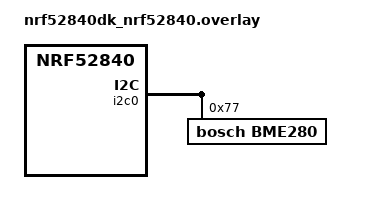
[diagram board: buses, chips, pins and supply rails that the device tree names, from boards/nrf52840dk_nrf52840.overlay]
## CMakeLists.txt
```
# SPDX-License-Identifier: Apache-2.0

cmake_minimum_required(VERSION 3.13.1)

list(INSERT OVERLAY_CONFIG 0 common/overlay-ot-defaults.conf)

set(ENV{BOARD} nrf52840dk_nrf52840)
set(ENV{BOARD_DIR} $ENV{ZEPHYR_BASE}/boards/arm/nrf52840dk_nrf52840)

find_package(Zephyr REQUIRED HINTS $ENV{ZEPHYR_BASE})

project(emesh_sensor
        LANGUAGES C CXX ASM)

enable_language(CXX)
set(CMAKE_C_STANDARD 11)
set(CMAKE_CXX_STANDARD 20)

target_sources(app PRIVATE
        src/main.cpp
        src/coap_client_utils.c
)

target_include_directories(app PUBLIC src)

#add_subdirectory(third_party/zpp)
#add_subdirectory(third_party/etl)
#target_include_directories(etl INTERFACE third_party/etl_profile)

#zephyr_library_include_directories(${ZEPHYR_BASE}/samples/bluetooth)
#add_subdirectory(src/sensors)
#add_subdirectory(src/bluetooth)
#add_subdirectory(src/utils)

#target_link_libraries(app PRIVATE
#        sensor_lib
#        utils_lib
#        bt_lib
#        etl
#        )
```

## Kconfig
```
#
# Copyright (c) 2020 Nordic Semiconductor ASA
#
# SPDX-License-Identifier: LicenseRef-BSD-5-Clause-Nordic
#

menu "Zephyr Kernel"
source "Kconfig.zephyr"
endmenu

module = COAP_CLIENT
module-str = CoAP client
source "${ZEPHYR_BASE}/subsys/logging/Kconfig.template.log_config"

module = COAP_CLIENT_UTILS
module-str = CoAP client utilities
source "${ZEPHYR_BASE}/subsys/logging/Kconfig.template.log_config"

module = BLE_UTILS
module-str = Bluetooth connection utilities
source "${ZEPHYR_BASE}/subsys/logging/Kconfig.template.log_config"
```

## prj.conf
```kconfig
# Increased stack due to settings API usage
CONFIG_SYSTEM_WORKQUEUE_STACK_SIZE=2048
# Config logger
CONFIG_LOG=y
CONFIG_USE_SEGGER_RTT=y
CONFIG_LOG_BACKEND_RTT=y
CONFIG_ASSERT=y

# nRF board library
CONFIG_DK_LIBRARY=y

# Enable CoAP utils and CoAP protocol
CONFIG_COAP_UTILS=y

# Configure sample logging setting
CONFIG_COAP_CLIENT_LOG_LEVEL_DBG=y
CONFIG_COAP_CLIENT_UTILS_LOG_LEVEL_DBG=y
CONFIG_COAP_UTILS_LOG_LEVEL_DBG=y

# Network shell
CONFIG_NET_SHELL=y
CONFIG_SHELL_ARGC_MAX=26
CONFIG_SHELL_CMD_BUFF_SIZE=416

# Network sockets
CONFIG_NET_SOCKETS=y
CONFIG_NET_SOCKETS_POSIX_NAMES=y
CONFIG_NET_SOCKETS_POLL_MAX=4

# This sample makes use of system workqueue and requires increased stack size.
CONFIG_SYSTEM_WORKQUEUE_STACK_SIZE=2048

# OpenThread manual start
CONFIG_OPENTHREAD_MANUAL_START=y
CONFIG_OPENTHREAD_MTD_SED=y
CONFIG_OPENTHREAD_JOINER=y

CONFIG_CPLUSPLUS=y
CONFIG_LIB_CPLUSPLUS=y
CONFIG_STD_CPP17=y
CONFIG_NEWLIB_LIBC=y
CONFIG_NEWLIB_LIBC_NANO=y
CONFIG_SPEED_OPTIMIZATIONS=y
CONFIG_MINIMAL_LIBC_MALLOC_ARENA_SIZE=128

CONFIG_SENSOR=y
CONFIG_BME280=y
CONFIG_GPIO=y

CONFIG_SETTINGS=y
CONFIG_FLASH=y
CONFIG_FLASH_PAGE_LAYOUT=y
CONFIG_FLASH_MAP=y
CONFIG_NVS=y
CONFIG_SETTINGS_NVS=y

# Below is setup to let DIS information be read from settings
CONFIG_SETTINGS_RUNTIME=y

CONFIG_SYS_POWER_MANAGEMENT=y
CONFIG_TICKLESS_IDLE=y
```

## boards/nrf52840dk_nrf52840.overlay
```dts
/*
 * Copyright (c) 2020, Nordic Semiconductor ASA
 *
 * SPDX-License-Identifier: Apache-2.0
 */

/ {
	/*
	* In some default configurations within the nRF Connect SDK,
	* e.g. on nRF52840, the chosen zephyr,entropy node is &cryptocell.
	* This devicetree overlay ensures that default is overridden wherever it
	* is set, as this application uses the RNG node for entropy exclusively.
	*/
	chosen {
		zephyr,entropy = &rng;
	};
};

&i2c0 {
	bme280@77 {
		compatible = "bosch,bme280";
		reg = <0x77>;
		label = "BME280";
	};
};
```

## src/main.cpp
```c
/*
 * Copyright (c) 2020 Nordic Semiconductor ASA
 *
 * SPDX-License-Identifier: LicenseRef-BSD-5-Clause-Nordic
 */

#include <zephyr.h>
#include <dk_buttons_and_leds.h>
#include <logging/log.h>
#include <ram_pwrdn.h>
#include <device.h>

#include "coap_client_utils.h"

#if CONFIG_BT_NUS
#include "ble_utils.h"
#endif

LOG_MODULE_REGISTER(coap_client, CONFIG_COAP_CLIENT_LOG_LEVEL);

#define CONSOLE_LABEL DT_LABEL(DT_CHOSEN(zephyr_console))

#define OT_CONNECTION_LED DK_LED1
#define BLE_CONNECTION_LED DK_LED2
#define MTD_SED_LED DK_LED3

#if CONFIG_BT_NUS

#define COMMAND_REQUEST_UNICAST 'u'
#define COMMAND_REQUEST_MULTICAST 'm'
#define COMMAND_REQUEST_PROVISIONING 'p'

static void on_nus_received(struct bt_conn *conn, const uint8_t *const data,
			    uint16_t len)
{
	LOG_INF("Received data: %s", log_strdup(data));

	if (len != 1) {
		LOG_WRN("Received invalid data length from NUS");
		return;
	}

	switch (*data) {
	case COMMAND_REQUEST_UNICAST:
		coap_client_toggle_one_light();
		break;

	case COMMAND_REQUEST_MULTICAST:
		coap_client_toggle_mesh_lights();
		break;

	case COMMAND_REQUEST_PROVISIONING:
		coap_client_send_provisioning_request();
		break;

	default:
		LOG_WRN("Received invalid data from NUS");
	}
}

static void on_ble_connect(struct k_work *item)
{
	ARG_UNUSED(item);

	dk_set_led_on(BLE_CONNECTION_LED);
}

static void on_ble_disconnect(struct k_work *item)
{
	ARG_UNUSED(item);

	dk_set_led_off(BLE_CONNECTION_LED);
}

#endif /* CONFIG_BT_NUS */

static void on_ot_connect(struct k_work *item)
{
  ARG_UNUSED(item);

  LOG_INF("connected\n");
  dk_set_led_on(OT_CONNECTION_LED);
}

static void on_ot_disconnect(struct k_work *item)
{
  ARG_UNUSED(item);

  LOG_INF("disconnected\n");
  dk_set_led_off(OT_CONNECTION_LED);
}

static void on_mtd_mode_toggle(uint32_t med)
{
  LOG_INF("toggled %d\n", med);
#if IS_ENABLED(CONFIG_DEVICE_POWER_MANAGEMENT)
  const struct device *cons = device_get_binding(CONSOLE_LABEL);

	if (med) {
		device_set_power_state(cons, DEVICE_PM_ACTIVE_STATE,
				       NULL, NULL);
	} else {
		device_set_power_state(cons, DEVICE_PM_OFF_STATE,
				       NULL, NULL);
	}
#endif
  dk_set_led(MTD_SED_LED, med);
}

static void on_button_changed(uint32_t button_state, uint32_t has_changed)
{
  uint32_t buttons = button_state & has_changed;

  if (buttons & DK_BTN1_MSK) {
    coap_client_toggle_one_light();
  }

  if (buttons & DK_BTN2_MSK) {
    coap_client_toggle_mesh_lights();
  }

  if (buttons & DK_BTN3_MSK) {
    coap_client_toggle_minimal_sleepy_end_device();
  }

  if (buttons & DK_BTN4_MSK) {
    coap_client_send_provisioning_request();
  }
}

void main(void)
{
  int ret;

  LOG_INF("Start CoAP-client sample");

  if (IS_ENABLED(CONFIG_RAM_POWER_DOWN_LIBRARY)) {
    power_down_unused_ram();
  }

  ret = dk_buttons_init(on_button_changed);
  if (ret) {
    LOG_ERR("Cannot init buttons (error: %d)", ret);
    return;
  }

  ret = dk_leds_init();
  if (ret) {
    LOG_ERR("Cannot init leds, (error: %d)", ret);
    return;
  }

#if CONFIG_BT_NUS
  struct bt_nus_cb nus_clbs = {
		.received = on_nus_received,
		.sent = NULL,
	};

	ret = ble_utils_init(&nus_clbs, on_ble_connect, on_ble_disconnect);
	if (ret) {
		LOG_ERR("Cannot init BLE utilities");
		return;
	}

#endif /* CONFIG_BT_NUS */

  coap_client_utils_init(on_ot_connect, on_ot_disconnect,
      on_mtd_mode_toggle);
}
```

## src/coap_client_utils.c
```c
/*
 * Copyright (c) 2020 Nordic Semiconductor ASA
 *
 * SPDX-License-Identifier: LicenseRef-BSD-5-Clause-Nordic
 */


#include <zephyr.h>
#include "coap_server_client_interface.h"
#include <net/coap_utils.h>
#include <logging/log.h>
#include <net/openthread.h>
#include <net/socket.h>
#include <openthread/thread.h>
#include <openthread/joiner.h>

#include "coap_client_utils.h"

LOG_MODULE_REGISTER(coap_client_utils, CONFIG_COAP_CLIENT_UTILS_LOG_LEVEL);

#define RESPONSE_POLL_PERIOD 100

//typedef struct mtd_mode_toggle_cb_t mtd_mode_toggle_cb_t;
static uint32_t poll_period;

static bool is_connected;

static struct k_work unicast_light_work;
static struct k_work multicast_light_work;
static struct k_work toggle_MTD_SED_work;
static struct k_work provisioning_work;
static struct k_work on_connect_work;
static struct k_work on_disconnect_work;

mtd_mode_toggle_cb_t on_mtd_mode_toggle;

/* Options supported by the server */
static const char* const light_option[] = {LIGHT_URI_PATH, NULL};
static const char* const provisioning_option[] = {PROVISIONING_URI_PATH,
                                                  NULL};

/* Thread multicast mesh local address */
static struct sockaddr_in6 multicast_local_addr = {
    .sin6_family = AF_INET6,
    .sin6_port = htons(COAP_PORT),
    .sin6_addr.s6_addr = {0xff, 0x03, 0x00, 0x00, 0x00, 0x00, 0x00, 0x00,
                          0x00, 0x00, 0x00, 0x00, 0x00, 0x00, 0x00, 0x01},
    .sin6_scope_id = 0U
};

/* Variable for storing server address acquiring in provisioning handshake */
static char unique_local_addr_str[INET6_ADDRSTRLEN];
static struct sockaddr_in6 unique_local_addr = {
    .sin6_family = AF_INET6,
    .sin6_port = htons(COAP_PORT),
    .sin6_addr.s6_addr = {0,},
    .sin6_scope_id = 0U
};

static bool is_mtd_in_med_mode(otInstance* instance)
{
  return otThreadGetLinkMode(instance).mRxOnWhenIdle;
}

static void poll_period_response_set(void)
{
  otError error;

  otInstance* instance = openthread_get_default_instance();

  if (is_mtd_in_med_mode(instance)) {
    return;
  }

  if (!poll_period) {
    poll_period = otLinkGetPollPeriod(instance);

    error = otLinkSetPollPeriod(instance, RESPONSE_POLL_PERIOD);
    __ASSERT(error == OT_ERROR_NONE, "Failed to set pool period");

    LOG_INF("Poll Period: %dms set", RESPONSE_POLL_PERIOD);
  }
}

static void poll_period_restore(void)
{
  otError error;
  otInstance* instance = openthread_get_default_instance();

  if (is_mtd_in_med_mode(instance)) {
    return;
  }

  if (poll_period) {
    error = otLinkSetPollPeriod(instance, poll_period);
    __ASSERT_NO_MSG(error == OT_ERROR_NONE);

    LOG_INF("Poll Period: %dms restored", poll_period);
    poll_period = 0;
  }
}

static int on_provisioning_reply(const struct coap_packet* response,
    struct coap_reply* reply,
    const struct sockaddr* from)
{
  int ret = 0;
  const uint8_t* payload;
  uint16_t payload_size = 0u;

  ARG_UNUSED(reply);
  ARG_UNUSED(from);

  payload = coap_packet_get_payload(response, &payload_size);

  if (payload_size != sizeof(unique_local_addr.sin6_addr)) {
    LOG_ERR("Received data size is invalid");
  }
//  otJoinerStart
  memcpy(&unique_local_addr.sin6_addr, payload, payload_size);

  if (!inet_ntop(AF_INET6, payload, unique_local_addr_str,
      INET6_ADDRSTRLEN)) {
    LOG_ERR("Received data is not IPv6 address: %d", errno);
    ret = -errno;
    goto exit;
  }

  LOG_INF("Received peer address: %s", log_strdup(unique_local_addr_str));

  exit:
  if (IS_ENABLED(CONFIG_OPENTHREAD_MTD_SED)) {
    poll_period_restore();
  }

  return ret;
}

static void toggle_one_light(struct k_work* item)
{
  uint8_t payload = (uint8_t) THREAD_COAP_UTILS_LIGHT_CMD_TOGGLE;

  ARG_UNUSED(item);

  if (unique_local_addr.sin6_addr.s6_addr16[0] == 0) {
    LOG_WRN("Peer address not set. Activate 'provisioning' option "
            "on the server side");
    return;
  }

  LOG_INF("Send 'light' request to: %s",
      log_strdup(unique_local_addr_str));
  coap_send_request(COAP_METHOD_PUT,
      (const struct sockaddr*) &unique_local_addr,
      light_option, &payload, sizeof(payload), NULL);
}

static void toggle_mesh_lights(struct k_work* item)
{
  static uint8_t command = (uint8_t) THREAD_COAP_UTILS_LIGHT_CMD_OFF;

  ARG_UNUSED(item);

  command = ((command == THREAD_COAP_UTILS_LIGHT_CMD_OFF) ?
             THREAD_COAP_UTILS_LIGHT_CMD_ON :
             THREAD_COAP_UTILS_LIGHT_CMD_OFF);

  LOG_INF("Send multicast mesh 'light' request");
  coap_send_request(COAP_METHOD_PUT,
      (const struct sockaddr*) &multicast_local_addr,
      light_option, &command, sizeof(command), NULL);
}

static void send_provisioning_request(struct k_work* item)
{
  ARG_UNUSED(item);

  if (IS_ENABLED(CONFIG_OPENTHREAD_MTD_SED)) {
    /* decrease the polling period for higher responsiveness */
    poll_period_response_set();
  }

  LOG_INF("Send 'provisioning' request");
  coap_send_request(COAP_METHOD_GET,
      (const struct sockaddr*) &multicast_local_addr,
      provisioning_option, NULL, 0u, on_provisioning_reply);
}

static void toggle_minimal_sleepy_end_device(struct k_work* item)
{
  otError error;
  struct otInstance* instance = openthread_get_default_instance();
  otLinkModeConfig mode = otThreadGetLinkMode(instance);

  mode.mRxOnWhenIdle = !mode.mRxOnWhenIdle;
  error = otThreadSetLinkMode(instance, mode);
  if (error != OT_ERROR_NONE) {
    LOG_ERR("Failed to set MLE link mode configuration");
  }
  else {
    on_mtd_mode_toggle(mode.mRxOnWhenIdle);
  }
}

static void update_device_state(void)
{
  struct otInstance* instance = openthread_get_default_instance();
  otLinkModeConfig mode = otThreadGetLinkMode(instance);
  on_mtd_mode_toggle(mode.mRxOnWhenIdle);
}

static void on_thread_state_changed(uint32_t flags, void* context)
{
  struct openthread_context* ot_context = context;

  if (flags & OT_CHANGED_THREAD_ROLE) {
    switch (otThreadGetDeviceRole(ot_context->instance)) {
      case OT_DEVICE_ROLE_CHILD:
      case OT_DEVICE_ROLE_ROUTER:
      case OT_DEVICE_ROLE_LEADER:
        k_work_submit(&on_connect_work);
        is_connected = true;
        break;

      case OT_DEVICE_ROLE_DISABLED:
      case OT_DEVICE_ROLE_DETACHED:
      default:
        k_work_submit(&on_disconnect_work);
        is_connected = false;
        break;
    }
  }
}

static void submit_work_if_connected(struct k_work* work)
{
  if (is_connected) {
    k_work_submit(work);
  }
  else {
    LOG_INF("Connection is broken");
  }
}

void joinerCallback(otError aError, void* aContext)
{
  LOG_INF("joined result %d\n", aError);
}

void coap_client_utils_init(ot_connection_cb_t on_connect,
    ot_disconnection_cb_t on_disconnect,
    mtd_mode_toggle_cb_t on_toggle)
{
  on_mtd_mode_toggle = on_toggle;

  coap_init(AF_INET6, NULL);
  struct otInstance* instance = openthread_get_default_instance();
  otJoinerStart(instance, "123456", NULL, NULL, NULL, NULL, NULL, joinerCallback, NULL);

  k_work_init(&on_connect_work, on_connect);
  k_work_init(&on_disconnect_work, on_disconnect);
  k_work_init(&unicast_light_work, toggle_one_light);
  k_work_init(&multicast_light_work, toggle_mesh_lights);
  k_work_init(&provisioning_work, send_provisioning_request);

  openthread_set_state_changed_cb(on_thread_state_changed);
  openthread_start(openthread_get_default_context());

  if (IS_ENABLED(CONFIG_OPENTHREAD_MTD_SED)) {
    k_work_init(&toggle_MTD_SED_work,
        toggle_minimal_sleepy_end_device);
    update_device_state();
  }
}

void coap_client_toggle_one_light(void)
{
  submit_work_if_connected(&unicast_light_work);
}

void coap_client_toggle_mesh_lights(void)
{
  submit_work_if_connected(&multicast_light_work);
}

void coap_client_send_provisioning_request(void)
{
  submit_work_if_connected(&provisioning_work);
}

void coap_client_toggle_minimal_sleepy_end_device(void)
{
  if (IS_ENABLED(CONFIG_OPENTHREAD_MTD_SED)) {
    k_work_submit(&toggle_MTD_SED_work);
  }
}
```

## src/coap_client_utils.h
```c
/**
 * @file
 * @defgroup coap_client_utils API for coap_client_* samples
 * @{
 */

/*
 * Copyright (c) 2020 Nordic Semiconductor ASA
 *
 * SPDX-License-Identifier: LicenseRef-BSD-5-Clause-Nordic
 */

#ifndef __COAP_CLIENT_UTILS_H__
#define __COAP_CLIENT_UTILS_H__

#ifdef __cplusplus
extern "C" {
#endif


/** @brief Type indicates function called when OpenThread connection
 *         is established.
 *
 * @param[in] item pointer to work item.
 */
typedef void (* ot_connection_cb_t)(struct k_work* item);

/** @brief Type indicates function called when OpenThread connection is ended.
 *
 * @param[in] item pointer to work item.
 */
typedef void (* ot_disconnection_cb_t)(struct k_work* item);

/** @brief Type indicates function called when the MTD modes are toggled.
 *
 * @param[in] val 1 if the MTD is in MED mode
 *                0 if the MTD is in SED mode
 */
typedef void (* mtd_mode_toggle_cb_t)(uint32_t val);

/** @brief Initialize CoAP client utilities.
 */
void coap_client_utils_init(ot_connection_cb_t on_connect,
    ot_disconnection_cb_t on_disconnect,
    mtd_mode_toggle_cb_t on_toggle);

/** @brief Toggle light on the CoAP server node.
 *
 * @note The CoAP server should be paired before to have an affect.
 */
void coap_client_toggle_one_light(void);

/** @brief Toggle lights on all CoAP servers in the network mesh.
 */
void coap_client_toggle_mesh_lights(void);

/** @brief Request for the CoAP server address to pair.
 *
 * @note Enable paring on the CoAP server to get the address.
 */
void coap_client_send_provisioning_request(void);

/** @brief Toggle SED to MED and MED to SED modes.
 *
 * @note Active when the device is working as Minimal Thread Device.
 */
void coap_client_toggle_minimal_sleepy_end_device(void);


#ifdef __cplusplus
}
#endif

#endif

/**
 * @}
 */
```

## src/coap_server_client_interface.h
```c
/*
 * Copyright (c) 2020 Nordic Semiconductor ASA
 *
 * SPDX-License-Identifier: LicenseRef-BSD-5-Clause-Nordic
 */

#ifndef __COAP_SERVER_CLIENT_INTRFACE_H__
#define __COAP_SERVER_CLIENT_INTRFACE_H__

#ifdef __cplusplus
extern "C" {
#endif

#define COAP_PORT 5683

/**@brief Enumeration describing light commands. */
enum light_command {
	THREAD_COAP_UTILS_LIGHT_CMD_OFF = '0',
	THREAD_COAP_UTILS_LIGHT_CMD_ON = '1',
	THREAD_COAP_UTILS_LIGHT_CMD_TOGGLE = '2'
};

#define PROVISIONING_URI_PATH "provisioning"
#define LIGHT_URI_PATH "light"


#ifdef __cplusplus
}
#endif

#endif
```
